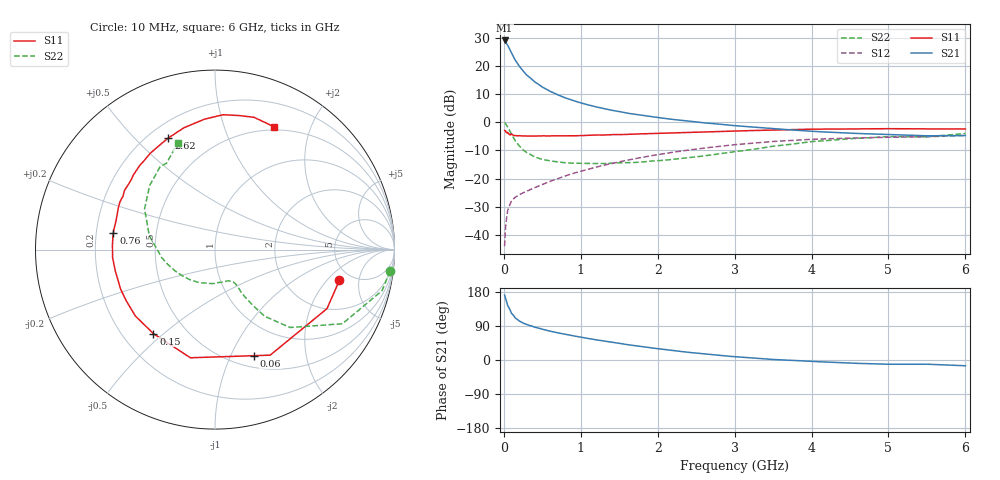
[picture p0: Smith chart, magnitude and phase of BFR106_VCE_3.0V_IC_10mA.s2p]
! Infineon Technologies  Discrete & RF Semiconductors
! BFR106
! VCE =  3.0 V,  IC =  10 mA
! Common Emitter S-Parameters:  Nov 2015
# GHz  S  MA  R  50
!  f  S11  S21  S12  S22
! GHz  MAG  ANG  MAG  ANG  MAG  ANG  MAG  ANG
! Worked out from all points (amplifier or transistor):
!   210 points, 10 MHz to 6 GHz, reference 50 ohm
!   highest |S21| = 29.0 dB at 10 MHz (marker M1)
!   |S21| within 3 dB of that: start of sweep to 72.96 MHz
!   unconditionally stable (mu >= 1): 484.8 MHz to 2.149 GHz; 5.05 GHz to end of sweep
!   at 185 MHz: K = 0.57, MSG = 23.3 dB, |S12| = -26.0 dB
!   at 1.52 GHz: K = 1.09, MAG = 7.0 dB, |S12| = -13.9 dB
!   at 6 GHz: K = 1.02, MAG = -0.8 dB, |S12| = -4.7 dB
!   S11 on the Smith chart (normalised r, x): 10 MHz: 3.97, -2.78; 60 MHz: 0.63, -1.23; 150 MHz: 0.33, -0.46; 760 MHz: 0.27, +0.07; 2.62 GHz: 0.28, +0.63; 6 GHz: 0.46, +1.49
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0.01  0.714 -13.9  28.29 171.1  0.0063 85.3  0.9822 -7.0
0.02  0.7054 -27.8  27.51 163.8  0.0123 76.8  0.9585 -13.8
0.05  0.6636 -62.4  23.27 143.6  0.0272 62.6  0.8213 -30.2
0.06  0.6301 -69.7  21.81 140.5  0.0296 59.3  0.7738 -32.6
0.1  0.618 -102.8  16.89 123.0  0.0401 50.3  0.6031 -46.0
0.15  0.5804 -126.2  12.51 110.5  0.0468 45.9  0.4635 -53.3
0.2  0.5778 -140.2  9.923 103.0  0.0515 45.5  0.3802 -55.7
0.24  0.571 -148.3  8.446 98.6  0.0549 46.2  0.3329 -57.0
0.26  0.5702 -151.7  7.832 96.5  0.0566 46.7  0.3144 -57.6
0.3  0.57 -157.4  6.828 93.2  0.0597 47.8  0.2878 -58.3
0.4  0.568 -167.9  5.222 86.7  0.0689 51.2  0.2428 -58.6
0.5  0.5722 -175.4  4.209 81.1  0.0782 54.2  0.218 -59.2
0.6  0.5719 178.6  3.547 76.1  0.089 56.6  0.206 -60.9
0.76  0.5738 170.8  2.848 69.4  0.1068 58.7  0.1931 -65.1
1.02  0.5794 159.9  2.166 59.5  0.1371 60.4  0.1866 -73.1
1.4  0.6024 146.9  1.632 47.1  0.1848 59.8  0.1878 -89.7
2.02  0.6334 128.7  1.203 29.4  0.2683 54.2  0.2083 -121.8
2.62  0.6737 112.7  0.971 15.8  0.3494 46.1  0.2542 -153.2
3.1  0.7046 102.3  0.848 7.3  0.4093 38.3  0.3112 -176.3
4.1  0.7533 85.1  0.678 -4.6  0.5017 21.4  0.462 146.8
5.1  0.7664 72.5  0.598 -11.2  0.5436 7.0  0.5539 122.5
6  0.7586 64.2  0.58 -15.2  0.5807 -3.4  0.6302 109.1
